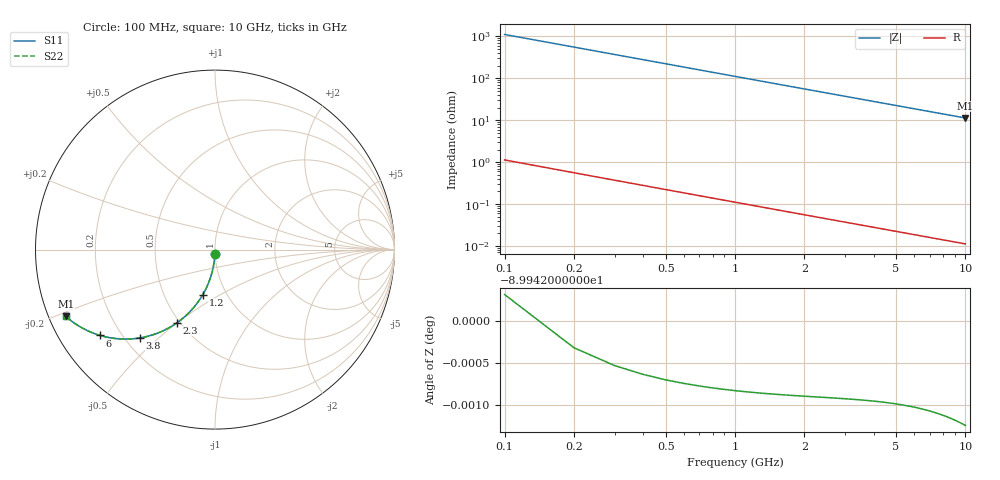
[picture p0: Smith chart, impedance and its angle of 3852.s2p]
# Hz S RI R 50.00
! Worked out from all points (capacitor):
!   100 points, 100 MHz to 10 GHz, reference 50 ohm
!   read as one part in shunt: C = 1.43 pF near 100 MHz
!   lowest |Z| = 11.3 ohm at 10 GHz (marker M1)
!   S11 on the Smith chart (normalised r, x): 100 MHz: 1.00, -0.04; 1.2 GHz: 0.77, -0.42; 2.3 GHz: 0.48, -0.50; 3.8 GHz: 0.26, -0.44; 6 GHz: 0.12, -0.33; 10 GHz: 0.05, -0.21
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1e8  -0.000528 -0.0225  0.9995 -0.0226  0.9995 -0.0226  -0.000528 -0.0225
2e8  -0.00207 -0.0449  0.9979 -0.045  0.9979 -0.045  -0.00207 -0.0449
3e8  -0.00461 -0.0672  0.9954 -0.0674  0.9954 -0.0674  -0.00461 -0.0672
4e8  -0.00814 -0.0893  0.9918 -0.0895  0.9918 -0.0895  -0.00814 -0.0893
5e8  -0.0126 -0.1111  0.9874 -0.1113  0.9874 -0.1113  -0.0126 -0.1111
6e8  -0.0181 -0.1326  0.9819 -0.1328  0.9819 -0.1328  -0.0181 -0.1326
7e8  -0.0244 -0.1536  0.9756 -0.1539  0.9756 -0.1539  -0.0244 -0.1536
9e8  -0.0396 -0.1943  0.9604 -0.1947  0.9604 -0.1947  -0.0396 -0.1943
1.2e9  -0.0681 -0.2512  0.9319 -0.2517  0.9319 -0.2517  -0.0681 -0.2512
1.5e9  -0.1023 -0.3022  0.8977 -0.3028  0.8977 -0.3028  -0.1023 -0.3022
1.8e9  -0.1407 -0.3468  0.8593 -0.3476  0.8593 -0.3476  -0.1407 -0.3468
2.3e9  -0.2104 -0.4066  0.7896 -0.4075  0.7896 -0.4075  -0.2104 -0.4066
2.8e9  -0.2825 -0.4491  0.7175 -0.4503  0.7175 -0.4503  -0.2825 -0.4491
3.4e9  -0.3666 -0.4807  0.6334 -0.4821  0.6334 -0.4821  -0.3666 -0.4807
3.8e9  -0.4191 -0.4921  0.5809 -0.4937  0.5809 -0.4937  -0.4191 -0.4921
4.4e9  -0.4911 -0.4985  0.5089 -0.5003  0.5089 -0.5003  -0.4911 -0.4985
5.1e9  -0.564 -0.4943  0.436 -0.4964  0.436 -0.4964  -0.564 -0.4943
6e9  -0.641 -0.478  0.359 -0.4804  0.359 -0.4804  -0.641 -0.478
6.7e9  -0.6897 -0.4607  0.3103 -0.4635  0.3103 -0.4635  -0.6897 -0.4607
7.5e9  -0.7355 -0.439  0.2645 -0.4421  0.2645 -0.4421  -0.7355 -0.439
8.4e9  -0.7769 -0.4141  0.2231 -0.4175  0.2231 -0.4175  -0.7769 -0.4141
1e10  -0.8313 -0.3719  0.1687 -0.3761  0.1687 -0.3761  -0.8313 -0.3719
